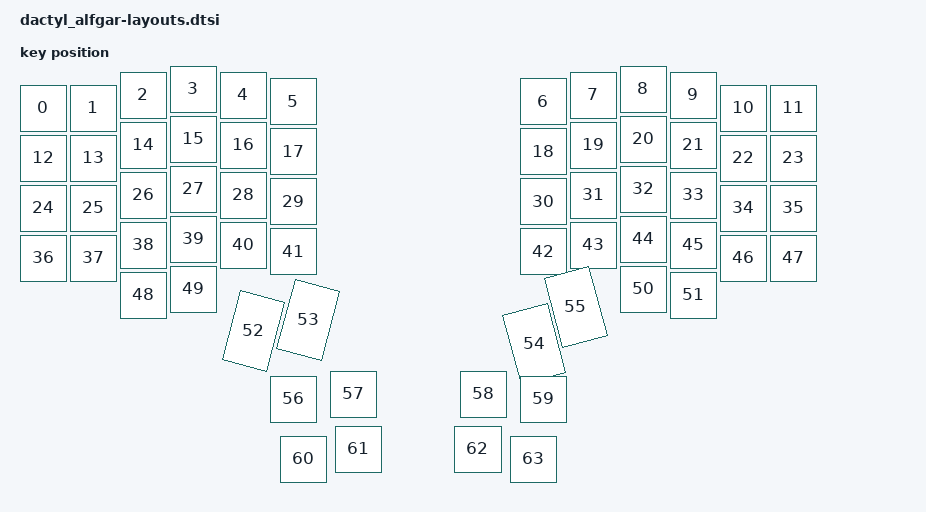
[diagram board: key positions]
// See https://zmk.dev/docs/development/hardware-integration/physical-layouts
// for how to configure this.

#include <physical_layouts.dtsi>

/ {
    default_layout: default_layout {
        compatible = "zmk,physical-layout";
        display-name = "Default Layout";
        transform = <&default_transform>;
        kscan = <&kscan>;

        // Edit this to define the positions and sizes of the keys, or remove it
        // if your keyboard will not support ZMK Studio.
        // https://zmk.dev/docs/development/hardware-integration/physical-layouts#optional-keys-propert


        // Define the physical positions for the 64 logical keys (MX1..MX64)
        // Coordinates are in arbitrary units suitable for ZMK Studio display.
        // The layout follows the default_transform's MX numbering (row-major across
        // 12 columns for the main four rows, then the thumb cluster positions).
        keys  //                     w   h    x    y     rot    rx    ry
            = <&key_physical_attrs 100 100    0   38       0     0     0>
            , <&key_physical_attrs 100 100  100   38       0     0     0>
            , <&key_physical_attrs 100 100  200   12       0     0     0>
            , <&key_physical_attrs 100 100  300    0       0     0     0>
            , <&key_physical_attrs 100 100  400   12       0     0     0>
            , <&key_physical_attrs 100 100  500   25       0     0     0>
            , <&key_physical_attrs 100 100 1000   25       0     0     0>
            , <&key_physical_attrs 100 100 1100   12       0     0     0>
            , <&key_physical_attrs 100 100 1200    0       0     0     0>
            , <&key_physical_attrs 100 100 1300   12       0     0     0>
            , <&key_physical_attrs 100 100 1400   38       0     0     0>
            , <&key_physical_attrs 100 100 1500   38       0     0     0>
            , <&key_physical_attrs 100 100    0  138       0     0     0>
            , <&key_physical_attrs 100 100  100  138       0     0     0>
            , <&key_physical_attrs 100 100  200  112       0     0     0>
            , <&key_physical_attrs 100 100  300  100       0     0     0>
            , <&key_physical_attrs 100 100  400  112       0     0     0>
            , <&key_physical_attrs 100 100  500  125       0     0     0>
            , <&key_physical_attrs 100 100 1000  125       0     0     0>
            , <&key_physical_attrs 100 100 1100  112       0     0     0>
            , <&key_physical_attrs 100 100 1200  100       0     0     0>
            , <&key_physical_attrs 100 100 1300  112       0     0     0>
            , <&key_physical_attrs 100 100 1400  138       0     0     0>
            , <&key_physical_attrs 100 100 1500  138       0     0     0>
            , <&key_physical_attrs 100 100    0  238       0     0     0>
            , <&key_physical_attrs 100 100  100  238       0     0     0>
            , <&key_physical_attrs 100 100  200  212       0     0     0>
            , <&key_physical_attrs 100 100  300  200       0     0     0>
            , <&key_physical_attrs 100 100  400  212       0     0     0>
            , <&key_physical_attrs 100 100  500  225       0     0     0>
            , <&key_physical_attrs 100 100 1000  225       0     0     0>
            , <&key_physical_attrs 100 100 1100  212       0     0     0>
            , <&key_physical_attrs 100 100 1200  200       0     0     0>
            , <&key_physical_attrs 100 100 1300  212       0     0     0>
            , <&key_physical_attrs 100 100 1400  238       0     0     0>
            , <&key_physical_attrs 100 100 1500  238       0     0     0>
            , <&key_physical_attrs 100 100    0  338       0     0     0>
            , <&key_physical_attrs 100 100  100  338       0     0     0>
            , <&key_physical_attrs 100 100  200  312       0     0     0>
            , <&key_physical_attrs 100 100  300  300       0     0     0>
            , <&key_physical_attrs 100 100  400  312       0     0     0>
            , <&key_physical_attrs 100 100  500  325       0     0     0>
            , <&key_physical_attrs 100 100 1000  325       0     0     0>
            , <&key_physical_attrs 100 100 1100  312       0     0     0>
            , <&key_physical_attrs 100 100 1200  300       0     0     0>
            , <&key_physical_attrs 100 100 1300  312       0     0     0>
            , <&key_physical_attrs 100 100 1400  338       0     0     0>
            , <&key_physical_attrs 100 100 1500  338       0     0     0>
            , <&key_physical_attrs 100 100  200  412       0     0     0>
            , <&key_physical_attrs 100 100  300  400       0     0     0>
            , <&key_physical_attrs 100 100 1200  400       0     0     0>
            , <&key_physical_attrs 100 100 1300  412       0     0     0>
            , <&key_physical_attrs 100 150  350  450    1500   400   800>
            , <&key_physical_attrs 100 150  450  400    1500   400   800>
            , <&key_physical_attrs 100 150 1050  450 (-1500)  1200   800>
            , <&key_physical_attrs 100 150 1150  400 (-1500)  1200   800>
            , <&key_physical_attrs 100 100  500  620       0     0     0>
            , <&key_physical_attrs 100 100  620  610       0     0     0>
            , <&key_physical_attrs 100 100  880  610       0     0     0>
            , <&key_physical_attrs 100 100 1000  620       0     0     0>
            , <&key_physical_attrs 100 100  520  740       0     0     0>
            , <&key_physical_attrs 100 100  630  720       0     0     0>
            , <&key_physical_attrs 100 100  870  720       0     0     0>
            , <&key_physical_attrs 100 100  980  740       0     0     0>
            ;
    };
};
